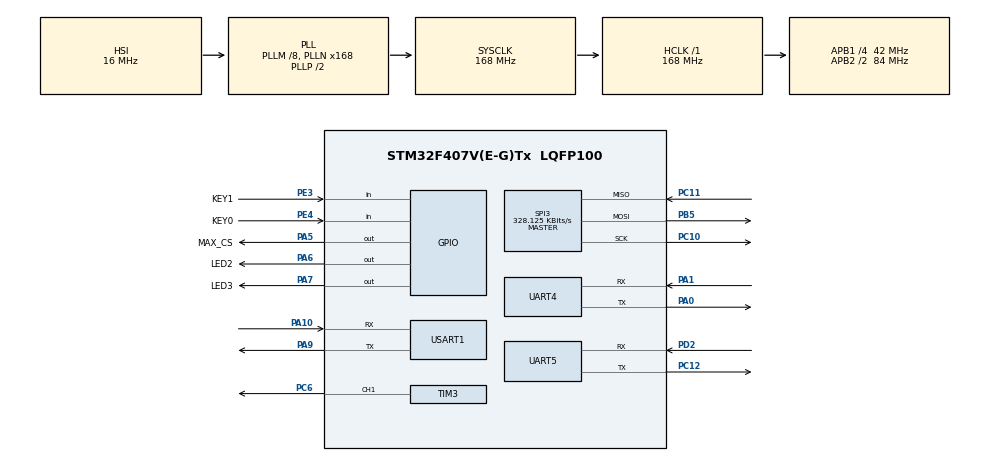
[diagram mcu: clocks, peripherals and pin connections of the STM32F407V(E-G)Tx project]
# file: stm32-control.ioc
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Dma.Request0=USART1_RX
Dma.Request1=UART5_RX
Dma.Request2=UART4_RX
Dma.UART4_RX.2.Direction=DMA_PERIPH_TO_MEMORY
Dma.UART4_RX.2.FIFOMode=DMA_FIFOMODE_DISABLE
Dma.UART4_RX.2.Instance=DMA1_Stream2
Dma.UART4_RX.2.MemDataAlignment=DMA_MDATAALIGN_BYTE
Dma.UART4_RX.2.MemInc=DMA_MINC_ENABLE
Dma.UART4_RX.2.Mode=DMA_CIRCULAR
Dma.UART4_RX.2.PeriphDataAlignment=DMA_PDATAALIGN_BYTE
Dma.UART4_RX.2.PeriphInc=DMA_PINC_DISABLE
Dma.UART4_RX.2.Priority=DMA_PRIORITY_LOW
Dma.UART5_RX.1.Direction=DMA_PERIPH_TO_MEMORY
Dma.UART5_RX.1.FIFOMode=DMA_FIFOMODE_DISABLE
Dma.UART5_RX.1.Instance=DMA1_Stream0
Dma.UART5_RX.1.MemDataAlignment=DMA_MDATAALIGN_BYTE
Dma.UART5_RX.1.MemInc=DMA_MINC_ENABLE
Dma.UART5_RX.1.Mode=DMA_CIRCULAR
Dma.UART5_RX.1.PeriphDataAlignment=DMA_PDATAALIGN_BYTE
Dma.UART5_RX.1.PeriphInc=DMA_PINC_DISABLE
Dma.UART5_RX.1.Priority=DMA_PRIORITY_LOW
Dma.USART1_RX.0.Direction=DMA_PERIPH_TO_MEMORY
Dma.USART1_RX.0.FIFOMode=DMA_FIFOMODE_DISABLE
Dma.USART1_RX.0.Instance=DMA2_Stream2
Dma.USART1_RX.0.MemDataAlignment=DMA_MDATAALIGN_BYTE
Dma.USART1_RX.0.MemInc=DMA_MINC_ENABLE
Dma.USART1_RX.0.Mode=DMA_CIRCULAR
Dma.USART1_RX.0.PeriphDataAlignment=DMA_PDATAALIGN_BYTE
Dma.USART1_RX.0.PeriphInc=DMA_PINC_DISABLE
Dma.USART1_RX.0.Priority=DMA_PRIORITY_LOW
Mcu.Family=STM32F4
Mcu.Name=STM32F407V(E-G)Tx
Mcu.Package=LQFP100
NVIC.DMA1_Stream0_IRQn=true\:0\:0\:false\:false\:true\:false\:true
NVIC.DMA1_Stream2_IRQn=true\:0\:0\:false\:false\:true\:false\:true
NVIC.DMA2_Stream2_IRQn=true\:0\:0\:false\:false\:true\:false\:true
NVIC.PriorityGroup=NVIC_PRIORITYGROUP_4
NVIC.TIM6_DAC_IRQn=true\:0\:0\:false\:false\:true\:true\:true
PA0-WKUP.Mode=Asynchronous
PA0-WKUP.Signal=UART4_TX
PA1.Mode=Asynchronous
PA1.Signal=UART4_RX
PA10.Mode=Asynchronous
PA10.Signal=USART1_RX
PA13.Mode=Serial_Wire
PA13.Signal=SYS_JTMS-SWDIO
PA14.Mode=Serial_Wire
PA14.Signal=SYS_JTCK-SWCLK
PA5.GPIO_Label=MAX_CS
PA5.Signal=GPIO_Output
PA6.GPIO_Label=LED2
PA6.Signal=GPIO_Output
PA7.GPIO_Label=LED3
PA7.Signal=GPIO_Output
PA9.Mode=Asynchronous
PA9.Signal=USART1_TX
PB5.Mode=Full_Duplex_Master
PB5.Signal=SPI3_MOSI
PC10.Mode=Full_Duplex_Master
PC10.Signal=SPI3_SCK
PC11.Mode=Full_Duplex_Master
PC11.Signal=SPI3_MISO
PC12.Mode=Asynchronous
PC12.Signal=UART5_TX
PC14-OSC32_IN.Mode=LSE-External-Oscillator
PC14-OSC32_IN.Signal=RCC_OSC32_IN
PC15-OSC32_OUT.Mode=LSE-External-Oscillator
PC15-OSC32_OUT.Signal=RCC_OSC32_OUT
PC6.Signal=S_TIM3_CH1
PD2.Mode=Asynchronous
PD2.Signal=UART5_RX
PE3.GPIO_Label=KEY1
PE3.GPIO_PuPd=GPIO_PULLUP
PE3.Signal=GPIO_Input
PE4.GPIO_Label=KEY0
PE4.GPIO_PuPd=GPIO_PULLUP
PE4.Signal=GPIO_Input
PH0-OSC_IN.Mode=HSE-External-Oscillator
PH0-OSC_IN.Signal=RCC_OSC_IN
PH1-OSC_OUT.Mode=HSE-External-Oscillator
PH1-OSC_OUT.Signal=RCC_OSC_OUT
ProjectManager.HeapSize=0x200
ProjectManager.StackSize=0x400
ProjectManager.TargetToolchain=MDK-ARM V5.32
RCC.48MHZClocksFreq_Value=84000000
RCC.AHBFreq_Value=168000000
RCC.APB1CLKDivider=RCC_HCLK_DIV4
RCC.APB1Freq_Value=42000000
RCC.APB1TimFreq_Value=84000000
RCC.APB2CLKDivider=RCC_HCLK_DIV2
RCC.APB2Freq_Value=84000000
RCC.APB2TimFreq_Value=168000000
RCC.CortexFreq_Value=168000000
RCC.HCLKFreq_Value=168000000
RCC.HSE_VALUE=8000000
RCC.HSI_VALUE=16000000
RCC.PLLM=8
RCC.PLLN=168
RCC.SYSCLKFreq_VALUE=168000000
RCC.SYSCLKSource=RCC_SYSCLKSOURCE_PLLCLK
RCC.VCOOutputFreq_Value=336000000
SH.S_TIM3_CH1.0=TIM3_CH1,PWM Generation1 CH1
SPI3.BaudRatePrescaler=SPI_BAUDRATEPRESCALER_128
SPI3.CLKPhase=SPI_PHASE_2EDGE
SPI3.CalculateBaudRate=328.125 KBits/s
SPI3.Direction=SPI_DIRECTION_2LINES
SPI3.Mode=SPI_MODE_MASTER
SPI3.VirtualType=VM_MASTER
TIM3.Channel-PWM\ Generation1\ CH1=TIM_CHANNEL_1
TIM3.Period=2000-1
TIM3.Prescaler=840-1
TIM6.Period=1000-1
TIM6.Prescaler=8400-1
UART4.VirtualMode=Asynchronous
UART5.VirtualMode=Asynchronous
USART1.VirtualMode=VM_ASYNC
VP_TIM3_VS_ClockSourceINT.Mode=Internal
VP_TIM6_VS_ClockSourceINT.Mode=Enable_Timer
board=custom

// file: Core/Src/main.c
/* USER CODE BEGIN Header */
/**
  ******************************************************************************
  * @file           : main.c
  * @brief          : Main program body
  ******************************************************************************
  * @attention
  *
  * <h2><center>&copy; Copyright (c) 2021 STMicroelectronics.
  * All rights reserved.</center></h2>
  *
  * This software component is licensed by ST under BSD 3-Clause license,
  * the "License"; You may not use this file except in compliance with the
  * License. You may obtain a copy of the License at:
  *                        opensource.org/licenses/BSD-3-Clause
  *
  ******************************************************************************
  */
/* USER CODE END Header */
#include "main.h"
#include "dma.h"
#include "spi.h"
#include "tim.h"
#include "usart.h"
#include "gpio.h"

/* USER CODE BEGIN Includes */
#include <stdbool.h>

#include "serial.h"
#include "flowcelltemp.h"
#include "valve.h"
#include "pump.h"
/* USER CODE END Includes */

/* USER CODE BEGIN PV */
extern bool Ready_PCCommand;

extern bool TempControl_Running;
uint8_t tim6_tick = 0;

/* USER CODE END PV */

void SystemClock_Config(void);

/* USER CODE BEGIN 0 */
static void User_Init()
{
	HAL_TIM_Base_Start_IT(&htim6);
	SerialConnect_Init();
	FlowcellTemp_Init();
	VALVE_Init();
	Pump_Init();
}

static void loop_process_200ms()
{
	UpdateTemperature();
	if (TempControl_Running) {
		CalcAndUpdatePWMValue();
	}

	if (Ready_PCCommand) {
	  Ready_PCCommand = false;
		ProcessReceiveCommand();
	}
	VALVE_RequestPos();
  Pump_RequestValvePos();
	Pump_RequestPumpPos();
	Pump_RequestPumpState();

}

//static void loop_process_500ms()
//{

//}

static void loop_process_500ms()
{
  Send_AllState();
}

/* USER CODE END 0 */

int main(void)
{

  /* MCU Configuration--------------------------------------------------------*/

  /* Reset of all peripherals, Initializes the Flash interface and the Systick. */
  HAL_Init();

  /* Configure the system clock */
  SystemClock_Config();

  /* Initialize all configured peripherals */
  MX_GPIO_Init();
  MX_DMA_Init();
  MX_SPI3_Init();
  MX_TIM3_Init();
  MX_USART1_UART_Init();
  MX_TIM6_Init();
  MX_UART4_Init();
  MX_UART5_Init();
  /* USER CODE BEGIN 2 */
	User_Init();

  /* USER CODE END 2 */

  /* Infinite loop */
  while (1)
  {

    /* USER CODE BEGIN 3 */

		// Key Check
		if (HAL_GPIO_ReadPin(KEY0_GPIO_Port, KEY0_Pin) == GPIO_PIN_RESET) {
			HAL_Delay(20);
			if (HAL_GPIO_ReadPin(KEY0_GPIO_Port, KEY0_Pin) == GPIO_PIN_RESET) {
				// KEY 0 -
				if (TempControl_Running) {
					FlowcellTemp_OFF();
				} else {
					FlowcellTemp_ON();
				}
				HAL_Delay(200);
			}
		}

		if (HAL_GPIO_ReadPin(KEY1_GPIO_Port, KEY1_Pin) == GPIO_PIN_RESET) {
			HAL_Delay(20);
			if (HAL_GPIO_ReadPin(KEY1_GPIO_Port, KEY1_Pin) == GPIO_PIN_RESET) {
				// KEY 1 -
				HAL_GPIO_TogglePin(LED3_GPIO_Port, LED3_Pin);
				HAL_Delay(200);
			}
		}

		if (tim6_tick % 2 == 0) {
			loop_process_200ms();
		}
//		if (tim6_tick % 5 == 0) {
//			loop_process_500ms();
//		}
		if (tim6_tick == 5) {
			tim6_tick = 0;
			loop_process_500ms();
		}

  }
  /* USER CODE END 3 */
}

void SystemClock_Config(void)
{
  RCC_OscInitTypeDef RCC_OscInitStruct = {0};
  RCC_ClkInitTypeDef RCC_ClkInitStruct = {0};

  /** Configure the main internal regulator output voltage
  */
  __HAL_RCC_PWR_CLK_ENABLE();
  __HAL_PWR_VOLTAGESCALING_CONFIG(PWR_REGULATOR_VOLTAGE_SCALE1);
  /** Initializes the RCC Oscillators according to the specified parameters
  * in the RCC_OscInitTypeDef structure.
  */
  RCC_OscInitStruct.OscillatorType = RCC_OSCILLATORTYPE_HSI;
  RCC_OscInitStruct.HSIState = RCC_HSI_ON;
  RCC_OscInitStruct.HSICalibrationValue = RCC_HSICALIBRATION_DEFAULT;
  RCC_OscInitStruct.PLL.PLLState = RCC_PLL_ON;
  RCC_OscInitStruct.PLL.PLLSource = RCC_PLLSOURCE_HSI;
  RCC_OscInitStruct.PLL.PLLM = 8;
  RCC_OscInitStruct.PLL.PLLN = 168;
  RCC_OscInitStruct.PLL.PLLP = RCC_PLLP_DIV2;
  RCC_OscInitStruct.PLL.PLLQ = 4;
  if (HAL_RCC_OscConfig(&RCC_OscInitStruct) != HAL_OK)
  {
    Error_Handler();
  }
  /** Initializes the CPU, AHB and APB buses clocks
  */
  RCC_ClkInitStruct.ClockType = RCC_CLOCKTYPE_HCLK|RCC_CLOCKTYPE_SYSCLK
                              |RCC_CLOCKTYPE_PCLK1|RCC_CLOCKTYPE_PCLK2;
  RCC_ClkInitStruct.SYSCLKSource = RCC_SYSCLKSOURCE_PLLCLK;
  RCC_ClkInitStruct.AHBCLKDivider = RCC_SYSCLK_DIV1;
  RCC_ClkInitStruct.APB1CLKDivider = RCC_HCLK_DIV4;
  RCC_ClkInitStruct.APB2CLKDivider = RCC_HCLK_DIV2;

  if (HAL_RCC_ClockConfig(&RCC_ClkInitStruct, FLASH_LATENCY_5) != HAL_OK)
  {
    Error_Handler();
  }
}

/* USER CODE BEGIN 4 */
void HAL_TIM_PeriodElapsedCallback(TIM_HandleTypeDef *htim)
{
	if (htim->Instance == TIM6) {
    tim6_tick++;
	}
}

/* USER CODE END 4 */

void Error_Handler(void)
{
  __disable_irq();
  while (1)
  {
  }
}

/************************ (C) COPYRIGHT STMicroelectronics *****END OF FILE****/
